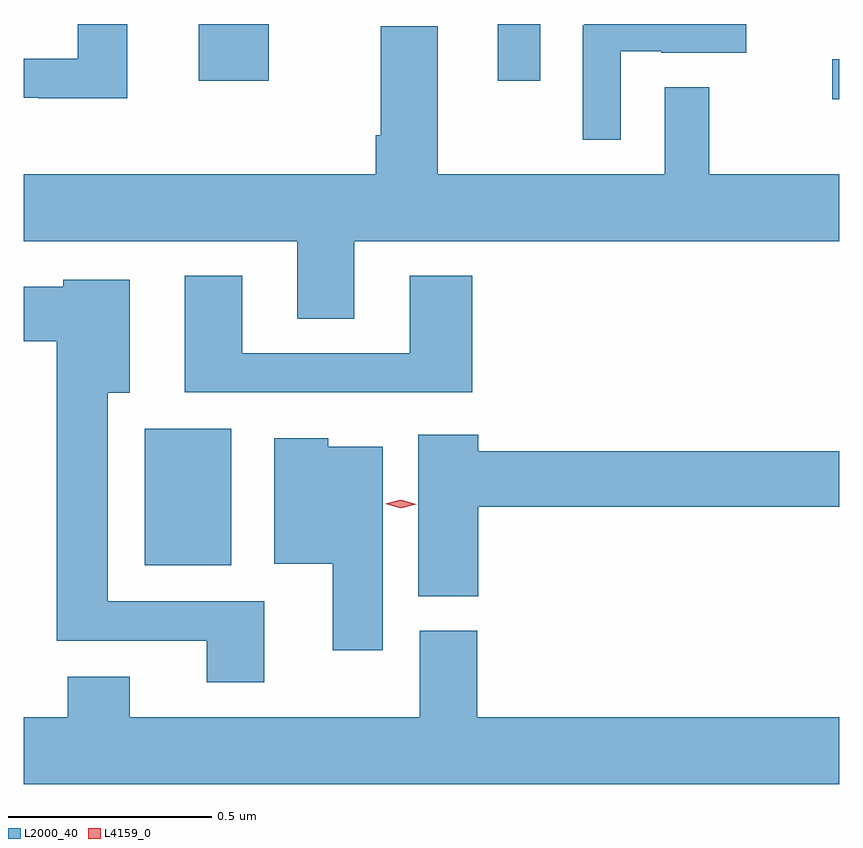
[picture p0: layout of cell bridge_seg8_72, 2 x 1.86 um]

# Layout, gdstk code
import gdstk
lib = gdstk.Library(unit=1e-6, precision=1e-09)
def R(c, l, rs):  # rectangles x0, y0, x1, y1
    for r in rs: c.add(gdstk.rectangle(r[:2], r[2:], *l))
def P(c, l, *ps):  # polygons
    for p in ps: c.add(gdstk.Polygon(p, *l))
L2000_40 = (2000, 40)
L4159_0 = (4159, 0)

bridge_seg8_72 = lib.new_cell('bridge_seg8_72')
R(bridge_seg8_72, L2000_40, [(914.15,1106.381,914.362,1106.716), (915.837,1107.524,915.854,1107.622), (914.283,1107.57,914.455,1107.709), (915.017,1107.57,915.121,1107.709)])
P(bridge_seg8_72, L2000_40, [(914.107,1107.709),(913.986,1107.709),(913.986,1107.624),(913.854,1107.624),(913.854,1107.528),(913.889,1107.528),(913.889,1107.527),(914.107,1107.527)],
  [(915.318,1107.642),(915.418,1107.642),(915.418,1107.639),(915.626,1107.639),(915.626,1107.709),(915.229,1107.709),(915.225,1107.705),(915.225,1107.425),(915.318,1107.425)],
  [(914.665,1107.176),(915.854,1107.176),(915.854,1107.34),(915.535,1107.34),(915.535,1107.554),(915.426,1107.554),(915.426,1107.34),(914.869,1107.34),(914.869,1107.703),(914.729,1107.703),(914.729,1107.436),(914.717,1107.436),(914.717,1107.34),(913.854,1107.34),(913.854,1107.176),(914.525,1107.176),(914.525,1106.986),(914.665,1106.986)],
  [(914.954,1107.091),(914.801,1107.091),(914.801,1106.901),(914.389,1106.901),(914.389,1107.091),(914.249,1107.091),(914.249,1106.805),(914.954,1106.805)],
  [(914.443,1106.292),(914.059,1106.292),(914.059,1106.804),(914.113,1106.804),(914.113,1107.082),(913.95,1107.082),(913.95,1107.064),(913.854,1107.064),(913.854,1106.93),(913.934,1106.93),(913.934,1106.196),(914.303,1106.196),(914.303,1106.094),(914.443,1106.094)],
  [(914.969,1106.524),(915.854,1106.524),(915.854,1106.66),(914.969,1106.66),(914.969,1106.701),(914.822,1106.701),(914.822,1106.305),(914.969,1106.305)],
  [(914.734,1106.671),(914.601,1106.671),(914.601,1106.692),(914.468,1106.692),(914.468,1106.384),(914.612,1106.384),(914.612,1106.172),(914.734,1106.172)],
  [(915.854,1106.008),(914.966,1106.008),(914.966,1106.22),(914.825,1106.22),(914.825,1106.008),(914.113,1106.008),(914.113,1106.107),(913.961,1106.107),(913.961,1106.008),(913.854,1106.008),(913.854,1105.844),(915.854,1105.844)])
P(bridge_seg8_72, L4159_0, [(914.778,1106.521),(914.74,1106.532),(914.74,1106.532),(914.74,1106.532),(914.778,1106.541),(914.816,1106.531),(914.816,1106.53),(914.816,1106.53)])

lib.write_gds('bridge_seg8_72.gds')
